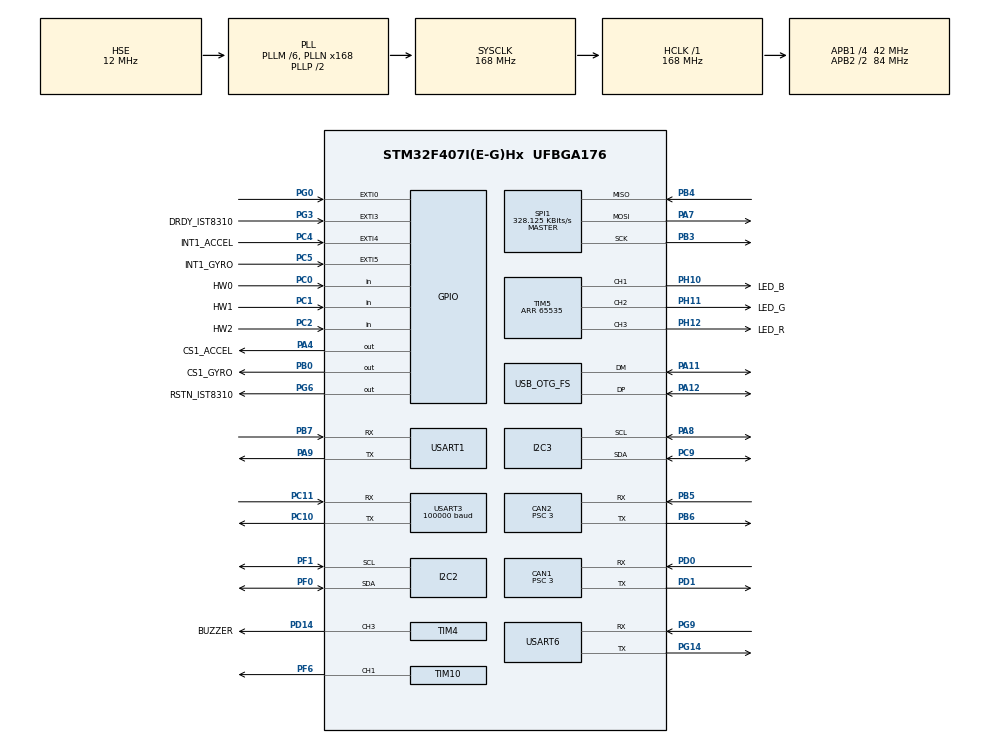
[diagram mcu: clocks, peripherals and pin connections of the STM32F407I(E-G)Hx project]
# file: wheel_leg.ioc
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CAN1.BS1=CAN_BS1_10TQ
CAN1.BS2=CAN_BS2_3TQ
CAN1.CalculateBaudRate=1000000
CAN1.CalculateTimeBit=1000
CAN1.CalculateTimeQuantum=71.42857142857143
CAN1.NART=ENABLE
CAN1.Prescaler=3
CAN2.BS1=CAN_BS1_10TQ
CAN2.BS2=CAN_BS2_3TQ
CAN2.CalculateBaudRate=1000000
CAN2.CalculateTimeBit=1000
CAN2.CalculateTimeQuantum=71.42857142857143
CAN2.NART=ENABLE
CAN2.Prescaler=3
Dma.Request0=USART3_RX
Dma.Request1=SPI1_RX
Dma.Request2=SPI1_TX
Dma.SPI1_RX.1.Direction=DMA_PERIPH_TO_MEMORY
Dma.SPI1_RX.1.FIFOMode=DMA_FIFOMODE_DISABLE
Dma.SPI1_RX.1.Instance=DMA2_Stream2
Dma.SPI1_RX.1.MemDataAlignment=DMA_MDATAALIGN_BYTE
Dma.SPI1_RX.1.MemInc=DMA_MINC_ENABLE
Dma.SPI1_RX.1.Mode=DMA_NORMAL
Dma.SPI1_RX.1.PeriphDataAlignment=DMA_PDATAALIGN_BYTE
Dma.SPI1_RX.1.PeriphInc=DMA_PINC_DISABLE
Dma.SPI1_RX.1.Priority=DMA_PRIORITY_VERY_HIGH
Dma.SPI1_TX.2.Direction=DMA_MEMORY_TO_PERIPH
Dma.SPI1_TX.2.FIFOMode=DMA_FIFOMODE_DISABLE
Dma.SPI1_TX.2.Instance=DMA2_Stream3
Dma.SPI1_TX.2.MemDataAlignment=DMA_MDATAALIGN_BYTE
Dma.SPI1_TX.2.MemInc=DMA_MINC_ENABLE
Dma.SPI1_TX.2.Mode=DMA_NORMAL
Dma.SPI1_TX.2.PeriphDataAlignment=DMA_PDATAALIGN_BYTE
Dma.SPI1_TX.2.PeriphInc=DMA_PINC_DISABLE
Dma.SPI1_TX.2.Priority=DMA_PRIORITY_HIGH
Dma.USART3_RX.0.Direction=DMA_PERIPH_TO_MEMORY
Dma.USART3_RX.0.FIFOMode=DMA_FIFOMODE_DISABLE
Dma.USART3_RX.0.Instance=DMA1_Stream1
Dma.USART3_RX.0.MemDataAlignment=DMA_MDATAALIGN_BYTE
Dma.USART3_RX.0.MemInc=DMA_MINC_ENABLE
Dma.USART3_RX.0.Mode=DMA_NORMAL
Dma.USART3_RX.0.PeriphDataAlignment=DMA_PDATAALIGN_BYTE
Dma.USART3_RX.0.PeriphInc=DMA_PINC_DISABLE
Dma.USART3_RX.0.Priority=DMA_PRIORITY_VERY_HIGH
FREERTOS.INCLUDE_eTaskGetState=1
FREERTOS.INCLUDE_pcTaskGetTaskName=1
FREERTOS.INCLUDE_uxTaskGetStackHighWaterMark=1
FREERTOS.INCLUDE_uxTaskGetStackHighWaterMark2=0
FREERTOS.INCLUDE_vTaskCleanUpResources=1
FREERTOS.INCLUDE_vTaskDelayUntil=1
FREERTOS.INCLUDE_xEventGroupSetBitFromISR=1
FREERTOS.INCLUDE_xQueueGetMutexHolder=1
FREERTOS.INCLUDE_xSemaphoreGetMutexHolder=1
FREERTOS.INCLUDE_xTaskAbortDelay=1
FREERTOS.INCLUDE_xTaskGetCurrentTaskHandle=1
FREERTOS.INCLUDE_xTaskGetHandle=1
FREERTOS.INCLUDE_xTimerPendFunctionCall=1
FREERTOS.Tasks01=defaultTask,0,128,StartDefaultTask,Default,NULL,Dynamic,NULL,NULL;INSTask,3,512,StartINSTask,Default,NULL,Dynamic,NULL,NULL;ChassisTask,2,512,StartChassisTask,Default,NULL,Dynamic,NULL,NULL
FREERTOS.configENABLE_FPU=1
FREERTOS.configGENERATE_RUN_TIME_STATS=0
FREERTOS.configTOTAL_HEAP_SIZE=24576
FREERTOS.configUSE_NEWLIB_REENTRANT=1
FREERTOS.configUSE_TIMERS=1
I2C3.I2C_Mode=I2C_Fast
Mcu.Family=STM32F4
Mcu.Name=STM32F407I(E-G)Hx
Mcu.Package=UFBGA176
NVIC.CAN1_RX0_IRQn=true\:5\:0\:false\:false\:true\:true\:true\:true\:true
NVIC.CAN1_TX_IRQn=true\:5\:0\:false\:false\:true\:true\:true\:true\:true
NVIC.CAN2_RX0_IRQn=true\:5\:0\:false\:false\:true\:true\:true\:true\:true
NVIC.CAN2_TX_IRQn=true\:5\:0\:false\:false\:true\:true\:true\:true\:true
NVIC.DMA1_Stream1_IRQn=true\:5\:0\:false\:false\:true\:true\:false\:true\:true
NVIC.DMA2_Stream2_IRQn=true\:5\:0\:false\:false\:true\:false\:false\:true\:true
NVIC.DMA2_Stream3_IRQn=true\:5\:0\:false\:false\:true\:true\:false\:true\:true
NVIC.EXTI0_IRQn=true\:5\:0\:false\:false\:true\:true\:true\:true\:true
NVIC.EXTI3_IRQn=true\:5\:0\:false\:false\:true\:true\:true\:true\:true
NVIC.EXTI4_IRQn=true\:5\:0\:false\:false\:true\:true\:true\:true\:true
NVIC.EXTI9_5_IRQn=true\:5\:0\:false\:false\:true\:false\:true\:true\:true
NVIC.OTG_FS_IRQn=true\:5\:0\:false\:false\:true\:true\:false\:true\:true
NVIC.PriorityGroup=NVIC_PRIORITYGROUP_4
NVIC.TIM2_IRQn=true\:15\:0\:false\:false\:true\:false\:false\:true\:true
NVIC.TimeBase=TIM2_IRQn
NVIC.TimeBaseIP=TIM2
NVIC.USART1_IRQn=true\:5\:0\:false\:false\:true\:true\:true\:true\:true
NVIC.USART3_IRQn=true\:5\:0\:false\:false\:false\:true\:true\:true\:true
PA11.Mode=Device_Only
PA11.Signal=USB_OTG_FS_DM
PA12.Mode=Device_Only
PA12.Signal=USB_OTG_FS_DP
PA13.Mode=Serial_Wire
PA13.Signal=SYS_JTMS-SWDIO
PA14.Mode=Serial_Wire
PA14.Signal=SYS_JTCK-SWCLK
PA4.GPIO_Label=CS1_ACCEL
PA4.GPIO_PuPd=GPIO_PULLUP
PA4.GPIO_Speed=GPIO_SPEED_FREQ_HIGH
PA4.PinState=GPIO_PIN_SET
PA4.Signal=GPIO_Output
PA7.Mode=Full_Duplex_Master
PA7.Signal=SPI1_MOSI
PA8.Mode=I2C
PA8.Signal=I2C3_SCL
PA9.Mode=Asynchronous
PA9.Signal=USART1_TX
PB0.GPIO_Label=CS1_GYRO
PB0.GPIO_PuPd=GPIO_PULLUP
PB0.GPIO_Speed=GPIO_SPEED_FREQ_HIGH
PB0.PinState=GPIO_PIN_SET
PB0.Signal=GPIO_Output
PB3.Mode=Full_Duplex_Master
PB3.Signal=SPI1_SCK
PB4.Mode=Full_Duplex_Master
PB4.Signal=SPI1_MISO
PB5.Mode=CAN_Activate
PB5.Signal=CAN2_RX
PB6.Mode=CAN_Activate
PB6.Signal=CAN2_TX
PB7.Mode=Asynchronous
PB7.Signal=USART1_RX
PC0.GPIO_Label=HW0
PC0.Signal=GPIO_Input
PC1.GPIO_Label=HW1
PC1.Signal=GPIO_Input
PC10.Mode=Asynchronous
PC10.Signal=USART3_TX
PC11.Mode=Asynchronous
PC11.Signal=USART3_RX
PC2.GPIO_Label=HW2
PC2.Signal=GPIO_Input
PC4.GPIO_Label=INT1_ACCEL
PC4.GPIO_ModeDefaultEXTI=GPIO_MODE_IT_FALLING
PC4.GPIO_PuPd=GPIO_PULLUP
PC4.Signal=GPXTI4
PC5.GPIO_Label=INT1_GYRO
PC5.GPIO_ModeDefaultEXTI=GPIO_MODE_IT_FALLING
PC5.GPIO_PuPd=GPIO_PULLUP
PC5.Signal=GPXTI5
PC9.Mode=I2C
PC9.Signal=I2C3_SDA
PD0.Mode=CAN_Activate
PD0.Signal=CAN1_RX
PD1.Mode=CAN_Activate
PD1.Signal=CAN1_TX
PD14.GPIO_Label=BUZZER
PD14.GPIO_PuPd=GPIO_PULLUP
PD14.GPIO_Speed=GPIO_SPEED_FREQ_VERY_HIGH
PD14.Signal=S_TIM4_CH3
PF0.Mode=I2C
PF0.Signal=I2C2_SDA
PF1.Mode=I2C
PF1.Signal=I2C2_SCL
PF6.GPIO_PuPd=GPIO_PULLUP
PF6.GPIO_Speed=GPIO_SPEED_FREQ_HIGH
PF6.Signal=S_TIM10_CH1
PG0.GPIO_ModeDefaultEXTI=GPIO_MODE_IT_FALLING
PG0.GPIO_PuPd=GPIO_PULLUP
PG0.Signal=GPXTI0
PG14.Mode=Asynchronous
PG14.Signal=USART6_TX
PG3.GPIO_Label=DRDY_IST8310
PG3.GPIO_ModeDefaultEXTI=GPIO_MODE_IT_FALLING
PG3.GPIO_PuPd=GPIO_PULLUP
PG3.Signal=GPXTI3
PG6.GPIO_Label=RSTN_IST8310
PG6.GPIO_ModeDefaultOutputPP=GPIO_MODE_OUTPUT_PP
PG6.GPIO_PuPd=GPIO_PULLUP
PG6.GPIO_Speed=GPIO_SPEED_FREQ_MEDIUM
PG6.PinState=GPIO_PIN_SET
PG6.Signal=GPIO_Output
PG9.Mode=Asynchronous
PG9.Signal=USART6_RX
PH0-OSC_IN.Mode=HSE-External-Oscillator
PH0-OSC_IN.Signal=RCC_OSC_IN
PH1-OSC_OUT.Mode=HSE-External-Oscillator
PH1-OSC_OUT.Signal=RCC_OSC_OUT
PH10.GPIO_Label=LED_B
PH10.GPIO_PuPd=GPIO_PULLUP
PH10.GPIO_Speed=GPIO_SPEED_FREQ_HIGH
PH10.Signal=S_TIM5_CH1
PH11.GPIO_Label=LED_G
PH11.GPIO_PuPd=GPIO_PULLUP
PH11.GPIO_Speed=GPIO_SPEED_FREQ_HIGH
PH11.Signal=S_TIM5_CH2
PH12.GPIO_Label=LED_R
PH12.GPIO_PuPd=GPIO_PULLUP
PH12.GPIO_Speed=GPIO_SPEED_FREQ_HIGH
PH12.Signal=S_TIM5_CH3
ProjectManager.HeapSize=0x1000
ProjectManager.StackSize=0x1000
ProjectManager.TargetToolchain=STM32CubeIDE
RCC.48MHZClocksFreq_Value=48000000
RCC.AHBFreq_Value=168000000
RCC.APB1CLKDivider=RCC_HCLK_DIV4
RCC.APB1Freq_Value=42000000
RCC.APB1TimFreq_Value=84000000
RCC.APB2CLKDivider=RCC_HCLK_DIV2
RCC.APB2Freq_Value=84000000
RCC.APB2TimFreq_Value=168000000
RCC.CortexFreq_Value=168000000
RCC.HCLKFreq_Value=168000000
RCC.HSE_VALUE=12000000
RCC.HSI_VALUE=16000000
RCC.LSE_VALUE=32768
RCC.PLLM=6
RCC.PLLN=168
RCC.PLLQ=7
RCC.SYSCLKFreq_VALUE=168000000
RCC.SYSCLKSource=RCC_SYSCLKSOURCE_PLLCLK
RCC.VCOOutputFreq_Value=336000000
SH.S_TIM10_CH1.0=TIM10_CH1,PWM Generation1 CH1
SH.S_TIM4_CH3.0=TIM4_CH3,PWM Generation3 CH3
SH.S_TIM5_CH1.0=TIM5_CH1,PWM Generation1 CH1
SH.S_TIM5_CH2.0=TIM5_CH2,PWM Generation2 CH2
SH.S_TIM5_CH3.0=TIM5_CH3,PWM Generation3 CH3
SPI1.BaudRatePrescaler=SPI_BAUDRATEPRESCALER_256
SPI1.CLKPhase=SPI_PHASE_2EDGE
SPI1.CLKPolarity=SPI_POLARITY_HIGH
SPI1.CalculateBaudRate=328.125 KBits/s
SPI1.Direction=SPI_DIRECTION_2LINES
SPI1.Mode=SPI_MODE_MASTER
SPI1.VirtualType=VM_MASTER
STMicroelectronics.X-CUBE-ALGOBUILD.1.3.0.LibraryCcDSPOoLibraryJjDSPOoLibrary=true
TIM10.Channel=TIM_CHANNEL_1
TIM10.Period=4999
TIM10.Prescaler=0
TIM4.Channel-PWM\ Generation3\ CH3=TIM_CHANNEL_3
TIM4.Period=20999
TIM4.Prescaler=0
TIM5.Channel-PWM\ Generation1\ CH1=TIM_CHANNEL_1
TIM5.Channel-PWM\ Generation2\ CH2=TIM_CHANNEL_2
TIM5.Channel-PWM\ Generation3\ CH3=TIM_CHANNEL_3
TIM5.Period=65535
USART1.VirtualMode=VM_ASYNC
USART3.BaudRate=100000
USART3.Parity=PARITY_EVEN
USART3.VirtualMode=VM_ASYNC
USART6.VirtualMode=VM_ASYNC
USB_DEVICE.CLASS_NAME_FS=CDC
USB_DEVICE.VirtualMode-CDC_FS=Cdc
USB_DEVICE.VirtualModeFS=Cdc_FS
USB_OTG_FS.VirtualMode=Device_Only
VP_FREERTOS_VS_CMSIS_V1.Mode=CMSIS_V1
VP_STMicroelectronics.X-CUBE-ALGOBUILD_VS_DSPOoLibraryJjLibrary_1.3.0_1.3.0.Mode=DSPOoLibraryJjLibrary
VP_SYS_VS_tim2.Mode=TIM2
VP_TIM10_VS_ClockSourceINT.Mode=Enable_Timer
VP_TIM4_VS_ClockSourceINT.Mode=Internal
VP_TIM5_VS_ClockSourceINT.Mode=Internal
VP_USB_DEVICE_VS_USB_DEVICE_CDC_FS.Mode=CDC_FS
board=custom

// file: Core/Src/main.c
/* USER CODE BEGIN Header */
/**
  ******************************************************************************
  * @file           : main.c
  * @brief          : Main program body
  ******************************************************************************
  * @attention
  *
  * Copyright (c) 2024 STMicroelectronics.
  * All rights reserved.
  *
  * This software is licensed under terms that can be found in the LICENSE file
  * in the root directory of this software component.
  * If no LICENSE file comes with this software, it is provided AS-IS.
  *
  ******************************************************************************
  */
/* USER CODE END Header */
#include "main.h"
#include "cmsis_os.h"
#include "can.h"
#include "dma.h"
#include "i2c.h"
#include "spi.h"
#include "tim.h"
#include "usart.h"
#include "usb_device.h"
#include "gpio.h"

/* USER CODE BEGIN Includes */
#include "bsp_delay.h"
#include "bsp_can.h"
#include "bsp_dwt.h"
#include "remote.h"
#include "BMI088driver.h"
#include "buzzer.h"

#include "stdio.h"

/* USER CODE END Includes */

void SystemClock_Config(void);
void MX_FREERTOS_Init(void);

int main(void)
{

  /* MCU Configuration--------------------------------------------------------*/

  /* Reset of all peripherals, Initializes the Flash interface and the Systick. */
  HAL_Init();

  /* Configure the system clock */
  SystemClock_Config();

  /* Initialize all configured peripherals */
  MX_GPIO_Init();
  MX_DMA_Init();
  MX_USART3_UART_Init();
  MX_CAN1_Init();
  MX_CAN2_Init();
  MX_SPI1_Init();
  MX_I2C3_Init();
  MX_TIM4_Init();
  MX_TIM5_Init();
  MX_TIM10_Init();
  MX_I2C2_Init();
  MX_USART1_UART_Init();
  MX_USART6_UART_Init();
  /* USER CODE BEGIN 2 */
  can_filter_init();

  delay_init();

  remote_control_init();

  DWT_Init(168);

  while (BMI088_init(&hspi1, 1) != BMI088_NO_ERROR);

  Buzzer_Init();

  /* USER CODE END 2 */

  /* Call init function for freertos objects (in freertos.c) */
  MX_FREERTOS_Init();

  /* Start scheduler */
  osKernelStart();

  /* We should never get here as control is now taken by the scheduler */
  /* Infinite loop */
  while (1)
  {

  }
}

void SystemClock_Config(void)
{
  RCC_OscInitTypeDef RCC_OscInitStruct = {0};
  RCC_ClkInitTypeDef RCC_ClkInitStruct = {0};

  /** Configure the main internal regulator output voltage
  */
  __HAL_RCC_PWR_CLK_ENABLE();
  __HAL_PWR_VOLTAGESCALING_CONFIG(PWR_REGULATOR_VOLTAGE_SCALE1);

  /** Initializes the RCC Oscillators according to the specified parameters
  * in the RCC_OscInitTypeDef structure.
  */
  RCC_OscInitStruct.OscillatorType = RCC_OSCILLATORTYPE_HSE;
  RCC_OscInitStruct.HSEState = RCC_HSE_ON;
  RCC_OscInitStruct.PLL.PLLState = RCC_PLL_ON;
  RCC_OscInitStruct.PLL.PLLSource = RCC_PLLSOURCE_HSE;
  RCC_OscInitStruct.PLL.PLLM = 6;
  RCC_OscInitStruct.PLL.PLLN = 168;
  RCC_OscInitStruct.PLL.PLLP = RCC_PLLP_DIV2;
  RCC_OscInitStruct.PLL.PLLQ = 7;
  if (HAL_RCC_OscConfig(&RCC_OscInitStruct) != HAL_OK)
  {
    Error_Handler();
  }

  /** Initializes the CPU, AHB and APB buses clocks
  */
  RCC_ClkInitStruct.ClockType = RCC_CLOCKTYPE_HCLK|RCC_CLOCKTYPE_SYSCLK
                              |RCC_CLOCKTYPE_PCLK1|RCC_CLOCKTYPE_PCLK2;
  RCC_ClkInitStruct.SYSCLKSource = RCC_SYSCLKSOURCE_PLLCLK;
  RCC_ClkInitStruct.AHBCLKDivider = RCC_SYSCLK_DIV1;
  RCC_ClkInitStruct.APB1CLKDivider = RCC_HCLK_DIV4;
  RCC_ClkInitStruct.APB2CLKDivider = RCC_HCLK_DIV2;

  if (HAL_RCC_ClockConfig(&RCC_ClkInitStruct, FLASH_LATENCY_5) != HAL_OK)
  {
    Error_Handler();
  }
}

void HAL_TIM_PeriodElapsedCallback(TIM_HandleTypeDef *htim)
{
  if (htim->Instance == TIM2) {
    HAL_IncTick();
  }
}

void Error_Handler(void)
{
  __disable_irq();
  while (1)
  {
  }
}

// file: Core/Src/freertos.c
/* USER CODE BEGIN Header */
/**
  ******************************************************************************
  * File Name          : freertos.c
  * Description        : Code for freertos applications
  ******************************************************************************
  * @attention
  *
  * Copyright (c) 2024 STMicroelectronics.
  * All rights reserved.
  *
  * This software is licensed under terms that can be found in the LICENSE file
  * in the root directory of this software component.
  * If no LICENSE file comes with this software, it is provided AS-IS.
  *
  ******************************************************************************
  */
/* USER CODE END Header */

#include "FreeRTOS.h"
#include "task.h"
#include "main.h"
#include "cmsis_os.h"

/* USER CODE BEGIN Includes */
#include "robot_def.h"
#include "ins_task.h"
#include "chassis_task.h"
#include "buzzer.h"
#include "joint.h"
#include "wheel.h"
/* USER CODE END Includes */

/* USER CODE BEGIN Variables */
osThreadId ChassisTaskHandle;

/* USER CODE END Variables */
osThreadId defaultTaskHandle;
osThreadId INSTaskHandle;
osThreadId ChassisTaskHandle;

void StartDefaultTask(void const * argument);
void StartINSTask(void const * argument);
void StartChassisTask(void const * argument);

extern void MX_USB_DEVICE_Init(void);
void MX_FREERTOS_Init(void); /* (MISRA C 2004 rule 8.1) */

/* GetIdleTaskMemory prototype (linked to static allocation support) */
void vApplicationGetIdleTaskMemory( StaticTask_t **ppxIdleTaskTCBBuffer, StackType_t **ppxIdleTaskStackBuffer, uint32_t *pulIdleTaskStackSize );

/* GetTimerTaskMemory prototype (linked to static allocation support) */
void vApplicationGetTimerTaskMemory( StaticTask_t **ppxTimerTaskTCBBuffer, StackType_t **ppxTimerTaskStackBuffer, uint32_t *pulTimerTaskStackSize );

/* USER CODE BEGIN GET_IDLE_TASK_MEMORY */
static StaticTask_t xIdleTaskTCBBuffer;
static StackType_t xIdleStack[configMINIMAL_STACK_SIZE];

void vApplicationGetIdleTaskMemory(StaticTask_t **ppxIdleTaskTCBBuffer,
                                   StackType_t **ppxIdleTaskStackBuffer,
                                   uint32_t *pulIdleTaskStackSize) {
  *ppxIdleTaskTCBBuffer = &xIdleTaskTCBBuffer;
  *ppxIdleTaskStackBuffer = &xIdleStack[0];
  *pulIdleTaskStackSize = configMINIMAL_STACK_SIZE;
  /* place for user code */
}
/* USER CODE END GET_IDLE_TASK_MEMORY */

/* USER CODE BEGIN GET_TIMER_TASK_MEMORY */
static StaticTask_t xTimerTaskTCBBuffer;
static StackType_t xTimerStack[configTIMER_TASK_STACK_DEPTH];

void vApplicationGetTimerTaskMemory(StaticTask_t **ppxTimerTaskTCBBuffer,
                                    StackType_t **ppxTimerTaskStackBuffer,
                                    uint32_t *pulTimerTaskStackSize) {
  *ppxTimerTaskTCBBuffer = &xTimerTaskTCBBuffer;
  *ppxTimerTaskStackBuffer = &xTimerStack[0];
  *pulTimerTaskStackSize = configTIMER_TASK_STACK_DEPTH;
  /* place for user code */
}
/* USER CODE END GET_TIMER_TASK_MEMORY */

void MX_FREERTOS_Init(void) {

  /* Create the thread(s) */
  /* definition and creation of defaultTask */
  osThreadDef(defaultTask, StartDefaultTask, osPriorityNormal, 0, 128);
  defaultTaskHandle = osThreadCreate(osThread(defaultTask), NULL);

  /* definition and creation of INSTask */
  osThreadDef(INSTask, StartINSTask, osPriorityRealtime, 0, 512);
  INSTaskHandle = osThreadCreate(osThread(INSTask), NULL);

  /* definition and creation of ChassisTask */
  osThreadDef(ChassisTask, StartChassisTask, osPriorityHigh, 0, 512);
  ChassisTaskHandle = osThreadCreate(osThread(ChassisTask), NULL);

}

void StartDefaultTask(void const * argument)
{
  /* init code for USB_DEVICE */
  MX_USB_DEVICE_Init();
  for (;;) {
    osDelay(1);
  }
}

void StartINSTask(void const * argument)
{
  /* USER CODE BEGIN StartINSTask */
    INS_Init();
    /* Infinite loop */
    for (;;)
    {
        INS_Task();
        osDelay(1);
    }
  /* USER CODE END StartINSTask */
}

void StartChassisTask(void const * argument)
{
  /* USER CODE BEGIN StartChassisTask */
  chassis_init();

  /* Infinite loop */
  for(;;)
  {
    chassis_task();
    osDelay(1); // 500Hz
  }
  /* USER CODE END StartChassisTask */
}
